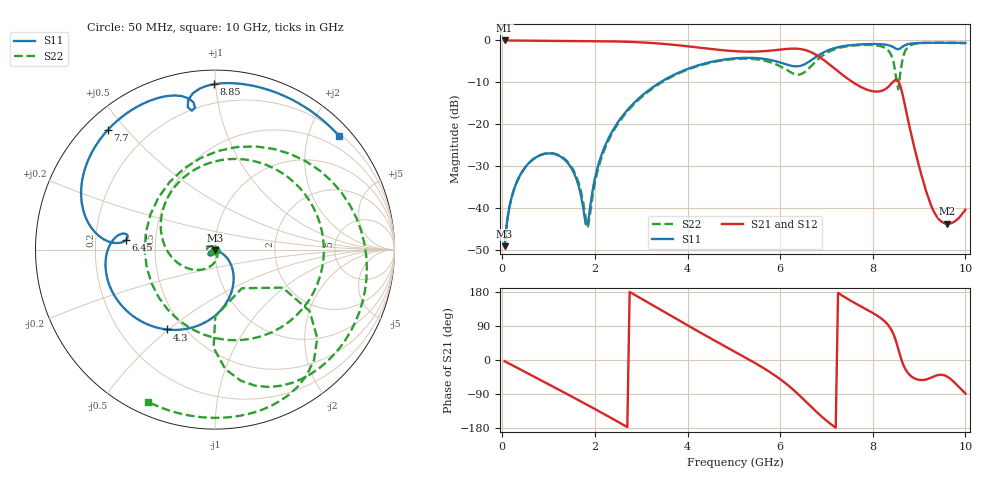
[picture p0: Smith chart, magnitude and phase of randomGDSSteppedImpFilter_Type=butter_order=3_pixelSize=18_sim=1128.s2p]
! freq	dB(S11)	phase(S11)	dB(S12)	phase(S12)
!  dB(S21)	phase(S21)	dB(S22)	phase(S22)
!S-par simulation data
#  GHz  S  DB  R 50
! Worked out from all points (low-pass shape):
!   200 points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, 50 MHz to 10 GHz, reference 50 ohm
!   highest |S21| = -0.01 dB at 50 MHz (marker M1); lowest = -43.6 dB at 9.6 GHz (marker M2)
!   |S21| within 3 dB of the highest: start of sweep to 6.706 GHz
!   lowest |S11| = -49.0 dB at 50 MHz (marker M3), VSWR 1.01, Z = 50 - j0.353 ohm
!   |S11| at or under -10 dB: start of sweep to 3.409 GHz
!   |S22| runs from -49.0 to -0.6 dB; largest |S21 - S12| = 0
!   S11 on the Smith chart (normalised r, x): 50 MHz: 1.00, -0.01; 4.3 GHz: 0.41, -0.49; 6.45 GHz: 0.33, +0.05; 7.7 GHz: 0.07, +0.44; 8.85 GHz: 0.08, +0.99; 10 GHz: 0.25, +2.56
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0.05  -48.98 -82.6  -0.01 -3.3  -0.01 -3.3  -48.97 -84.4
0.3  -34.04 -103.5  -0.03 -19.3  -0.03 -19.3  -34.09 -112.6
0.8  -27.41 -129.3  -0.08 -51.2  -0.08 -51.2  -27.40 -154.3
1.4  -28.99 -155.5  -0.11 -89.9  -0.11 -89.9  -28.75 153.6
1.75  -40.06 -145.2  -0.14 -112.8  -0.14 -112.8  -38.69 102.0
1.85  -43.69 -69.8  -0.15 -119.4  -0.15 -119.4  -44.25 28.4
2.1  -28.66 -27.2  -0.17 -136.1  -0.17 -136.1  -29.38 -66.1
2.6  -17.92 -44.3  -0.28 -170.1  -0.28 -170.1  -18.27 -118.1
3.4  -10.06 -79.9  -0.75 133.9  -0.75 133.9  -10.27 165.7
4.3  -5.70 -120.9  -1.77 70.7  -1.77 70.7  -5.85 81.3
5.05  -4.23 -153.9  -2.57 20.0  -2.57 20.0  -4.40 13.9
5.9  -4.94 174.0  -2.30 -41.8  -2.30 -41.8  -5.64 -75.3
6.45  -6.01 174.1  -2.07 -97.3  -2.07 -97.3  -8.02 165.9
6.7  -4.49 175.6  -2.97 -127.0  -2.97 -127.0  -5.75 99.1
7.2  -1.75 155.8  -6.91 -178.6  -6.91 -178.6  -2.03 18.2
7.7  -0.96 131.9  -10.82 144.4  -10.82 144.4  -1.11 -27.2
8.35  -1.16 102.2  -10.91 89.5  -10.91 89.5  -2.56 -78.9
8.5  -1.96 98.0  -9.31 50.6  -9.31 50.6  -8.59 -89.8
8.6  -1.85 100.9  -10.95 8.1  -10.95 8.1  -7.29 -29.3
8.85  -0.71 90.3  -23.27 -44.8  -23.27 -44.8  -0.99 -59.0
9.6  -0.55 58.4  -43.64 -43.4  -43.64 -43.4  -0.58 -98.8
10  -0.56 42.4  -40.32 -88.4  -40.32 -88.4  -0.66 -113.9
